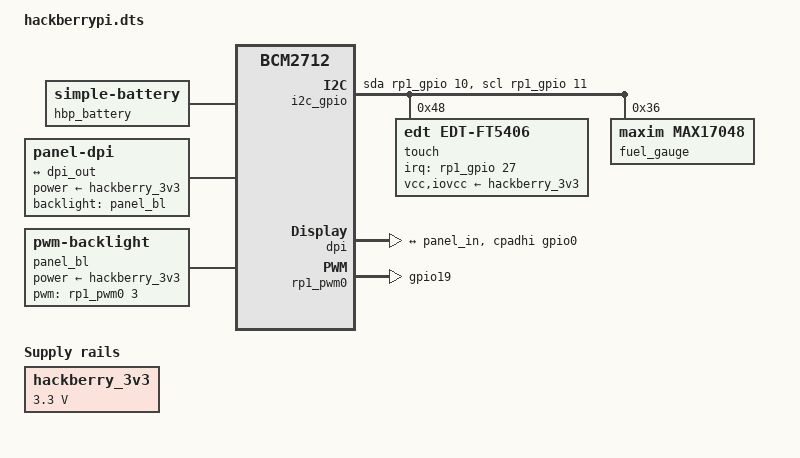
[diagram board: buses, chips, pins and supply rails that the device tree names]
/*
 * hackberrypi.dts — HackberryPi CM5 overlay for Marathon OS
 *
 * Enclosure-specific bits (panel, touch, fuel gauge, backlight) for
 * the ZitaoTech HackberryPi CM5 carrier. Layers on top of
 * device-raspberry-pi5-marathon's vanilla Pi 5 config.
 *
 * Combines:
 *   - HyperPixel 4.0 Square (720×720) DPI panel + edt-ft5x06 capacitive
 *     touch — identical to ZitaoTech's stock hackberrypi.dtbo (matches
 *     panel-timing values we extracted from the binary).
 *   - PWM backlight on rp1_pwm0 channel 3 / GPIO19. Pimoroni's
 *     upstream HyperPixel DT uses gpio-backlight which is binary on/off
 *     and never registers a /sys/class/backlight/ device. Without a
 *     proper pwm-backlight node, Marathon has no way to dim or blank
 *     the panel for sleep — a hard blocker for a phone OS. r180 adds
 *     fragment@5–7 below to wire the PWM properly.
 *   - MAX17048 LiPo fuel gauge on the i2c-gpio bus @ 0x36 with
 *     monitored-battery → simple-battery node. linux-rpi's
 *     max17040_battery.c does NOT parse charge-full-design-* props
 *     from its own DT node — it only consumes them via the
 *     `monitored-battery` reference. Putting the design specs on the
 *     fuel-gauge node directly (like r6 did) silently discards them,
 *     which is why `upower -i battery` reported energy-full-design=0.
 *
 * Reference: github.com/CNflysky/hackberrypiq20/blob/main/hackberrypicm5.dts
 *            github.com/ZitaoTech/HackberryPiCM5
 *            torvalds/linux drivers/power/supply/max17040_battery.c
 *            kernel.org Documentation/devicetree/bindings/power/supply/battery.yaml
 */
/dts-v1/;
/plugin/;

/ {
	compatible = "brcm,bcm2712", "raspberrypi,5-compute-module";

	/* Fixed always-on regulator node, used as the supply reference for
	 * the HyperPixel panel and edt-ft5x06 touchscreen. The HackberryPi
	 * carrier wires VDD/IOVCC for these directly to the 3V3 rail off the
	 * RP1 — there's no software gate. The kernel just wants a regulator
	 * node to bind to so the panel/touch drivers don't fall back to a
	 * dummy regulator (and log "supply ... not found" warnings).
	 * regulator-always-on + regulator-boot-on capture the hardwired
	 * nature.
	 */
	fragment@4 {
		target-path = "/";
		__overlay__ {
			hackberry_3v3: regulator-hackberry-3v3 {
				compatible = "regulator-fixed";
				regulator-name = "hackberry-3v3";
				regulator-min-microvolt = <3300000>;
				regulator-max-microvolt = <3300000>;
				regulator-always-on;
				regulator-boot-on;
			};
		};
	};

	/* Battery design specification node. linux-rpi 6.12's
	 * max17040_battery driver reads monitored-battery=<&phandle> and
	 * pulls charge-full-design-microamp-hours +
	 * energy-full-design-microwatt-hours + voltage-{min,max}-design
	 * from the referenced simple-battery. Putting these properties
	 * directly on the battery@36 fuel-gauge node (as the older overlay
	 * did) means the core silently discards them — power_supply_get_
	 * battery_info() is never called from this driver.
	 *
	 * Values from CNflysky's hackberrypiq20 reference: 5000 mAh / 18.5 Wh,
	 * 3.3–4.2 V Li-ion polymer.
	 */
	fragment@8 {
		target-path = "/";
		__overlay__ {
			hbp_battery: hbp-battery {
				compatible = "simple-battery";
				device-chemistry = "lithium-ion-polymer";
				charge-full-design-microamp-hours = <5000000>;
				energy-full-design-microwatt-hours = <18500000>;
				voltage-min-design-microvolt = <3300000>;
				voltage-max-design-microvolt = <4200000>;
			};
		};
	};

	fragment@0 {
		target-path = "/";
		__overlay__ {
			i2c_gpio: i2c-gpio {
				compatible = "i2c-gpio";
				gpios = <&rp1_gpio 10 0
				         &rp1_gpio 11 0>;
				i2c-gpio,delay-us = <4>;
				/* GPIO 10/11 are unused by DPI 18-bit (RGB666) mode, freeing them for I2C */
				#address-cells = <1>;
				#size-cells = <0>;

				touch: touchscreen@48 {
					#address-cells = <1>;
					#size-cells = <0>;
					compatible = "edt,edt-ft5406";
					reg = <0x48>;
					pinctrl-names = "default";
					pinctrl-0 = <&touch_int_pin>;
					/* &rp1_gpio (not &gpio): same target, unambiguous
					 * label — base CM5IO DTB exports both phandles but
					 * &rp1_gpio doesn't depend on a firmware fixup. */
					interrupt-parent = <&rp1_gpio>;
					interrupts = <27 0x02>;
					touchscreen-size-x = <720>;
					touchscreen-size-y = <720>;
					/* Bind both rails to the always-on 3V3 fixed-regulator
					 * declared in fragment@4. Driver previously fell back
					 * to dummy regulators on every probe and logged
					 * "supply vcc/iovcc not found". */
					vcc-supply = <&hackberry_3v3>;
					iovcc-supply = <&hackberry_3v3>;
				};

				/* MAX17048 LiPo fuel gauge. The
				 * `monitored-battery = <&hbp_battery>` reference is what
				 * lets power_supply_core read design specs (capacity,
				 * energy, voltage). Driver-specific properties
				 * (maxim,rcomp, maxim,alert-low-soc-level) stay here.
				 */
				fuel_gauge: battery@36 {
					compatible = "maxim,max17048";
					reg = <0x36>;
					monitored-battery = <&hbp_battery>;
					maxim,rcomp = /bits/ 8 <0x97>;
					maxim,alert-low-soc-level = <10>;
				};
			};
		};
	};

	fragment@1 {
		target = <&dpi>;
		__overlay__ {
			status = "okay";
			pinctrl-names = "default";
			pinctrl-0 = <&dpi_18bit_cpadhi_gpio0>;
			port {
				dpi_out: endpoint {
					remote-endpoint = <&panel_in>;
				};
			};
		};
	};

	fragment@2 {
		target-path = "/";
		__overlay__ {
			panel: panel {
				compatible = "panel-dpi";
				/* 4-inch square (~72×72mm); doubled to 144 so high-DPI
				 * userspace doesn't treat this as a tiny screen. */
				width-mm = <144>;
				height-mm = <144>;
				bus-format = <0x1024>;	/* MEDIA_BUS_FMT_RGB666_1X18 */
				/* Always-on 3V3 supply; silences the panel driver's
				 * "supply power not found" log. See fragment@4. */
				power-supply = <&hackberry_3v3>;
				/* Wire the panel to the pwm-backlight in fragment@7
				 * so DPMS / userspace dim land at the hardware. */
				backlight = <&panel_bl>;

				timing: panel-timing {
					clock-frequency = <35000000>;	/* matches ZitaoTech's stock dtbo */
					hactive = <720>;
					hfront-porch = <44>;
					hsync-len = <2>;
					hback-porch = <46>;
					hsync-active = <1>;
					vactive = <720>;
					vfront-porch = <16>;
					vsync-len = <2>;
					vback-porch = <18>;
					vsync-active = <1>;
					de-active = <1>;
					pixelclk-active = <1>;
				};

				port {
					panel_in: endpoint {
						remote-endpoint = <&dpi_out>;
					};
				};
			};
		};
	};

	fragment@3 {
		target = <&rp1_gpio>;
		__overlay__ {
			touch_int_pin: gpio27 {
				function = "gpio";
				pins = "gpio27";
				bias-pull-up;
			};
		};
	};

	/* PWM backlight wiring — three fragments.
	 *
	 * fragment@5: pinmux GPIO19 → rp1_pwm0 (pinctrl function "pwm0").
	 * fragment@6: bind pwm0 hardware block + activate.
	 * fragment@7: pwm-backlight node referenced by panel.backlight.
	 *
	 * On Pi 5 RP1, PWM channel-to-GPIO mapping:
	 *   ch0 → GPIO12, ch1 → GPIO13, ch2 → GPIO18, ch3 → GPIO19
	 * HyperPixel 4 routes backlight on GPIO19 → channel 3.
	 * 200 µs period = 5 kHz, above the panel's flicker threshold.
	 */
	fragment@5 {
		target = <&rp1_gpio>;
		__overlay__ {
			bl_pwm_pins: bl_pwm_pins {
				function = "pwm0";
				pins = "gpio19";
				bias-disable;
			};
		};
	};

	fragment@6 {
		target = <&rp1_pwm0>;
		__overlay__ {
			pinctrl-names = "default";
			pinctrl-0 = <&bl_pwm_pins>;
			status = "okay";
		};
	};

	fragment@7 {
		target-path = "/";
		__overlay__ {
			panel_bl: backlight {
				compatible = "pwm-backlight";
				/* &rp1_pwm0, channel 3, period 200000 ns (5 kHz), flags 0 */
				pwms = <&rp1_pwm0 3 200000 0>;
				brightness-levels = <0 8 16 32 64 96 128 160 192 224 255>;
				default-brightness-level = <8>;
				power-supply = <&hackberry_3v3>;
			};
		};
	};
};
